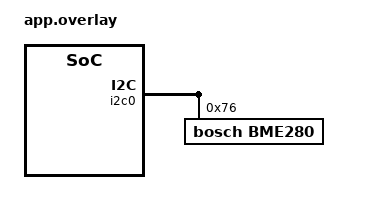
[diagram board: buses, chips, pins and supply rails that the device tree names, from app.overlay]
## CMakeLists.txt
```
cmake_minimum_required(VERSION 3.13.1)
find_package(Zephyr REQUIRED HINTS $ENV{ZEPHYR_BASE})
project(2026-05-29_I2C_Sensor_Integration)

target_sources(app PRIVATE src/main.c)
```

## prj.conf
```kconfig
CONFIG_I2C=y
CONFIG_SENSOR=y
CONFIG_BME280=y
CONFIG_LOG=y
CONFIG_LOG_DEFAULT_LEVEL=3
CONFIG_COMMON_LIBC_MALLOC_ARENA_SIZE=0
```

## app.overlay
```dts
/*
 * Wire BME280:
 *   VCC  -> 3.3V
 *   GND  -> GND
 *   SDA  -> P0.26
 *   SCL  -> P0.27
 *
 * If your module uses address 0x77 (SDO pulled high), change reg to <0x77>.
 */
&i2c0 {
	bme280@76 {
		compatible = "bosch,bme280";
		reg = <0x76>;
		label = "BME280";
	};
};
```

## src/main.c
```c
#include <zephyr/kernel.h>
#include <zephyr/drivers/sensor.h>
#include <zephyr/logging/log.h>
#include <stdlib.h>

LOG_MODULE_REGISTER(day14, LOG_LEVEL_INF);

static const struct device *bme280 = DEVICE_DT_GET_ANY(bosch_bme280);

int main(void)
{
    if (!device_is_ready(bme280)) {
        LOG_ERR("Day 14: BME280 not ready — check wiring and I2C address in app.overlay");
        return;
    }

    LOG_INF("Day 14: BME280 ready, reading every 2 s");

    struct sensor_value temp, press, hum;

    while (1) {
        if (sensor_sample_fetch(bme280) < 0) {
            LOG_ERR("Failed to fetch sample");
            k_msleep(2000);
            continue;
        }

        sensor_channel_get(bme280, SENSOR_CHAN_AMBIENT_TEMP, &temp);
        sensor_channel_get(bme280, SENSOR_CHAN_PRESS,        &press);
        sensor_channel_get(bme280, SENSOR_CHAN_HUMIDITY,     &hum);

        LOG_INF("Temp:  %d.%02d C",   temp.val1,  abs(temp.val2)  / 10000);
        LOG_INF("Press: %d.%02d kPa", press.val1, abs(press.val2) / 10000);
        LOG_INF("Hum:   %d.%02d %%",  hum.val1,   abs(hum.val2)   / 10000);

        k_msleep(2000);
    }
    return 0;
}
```
